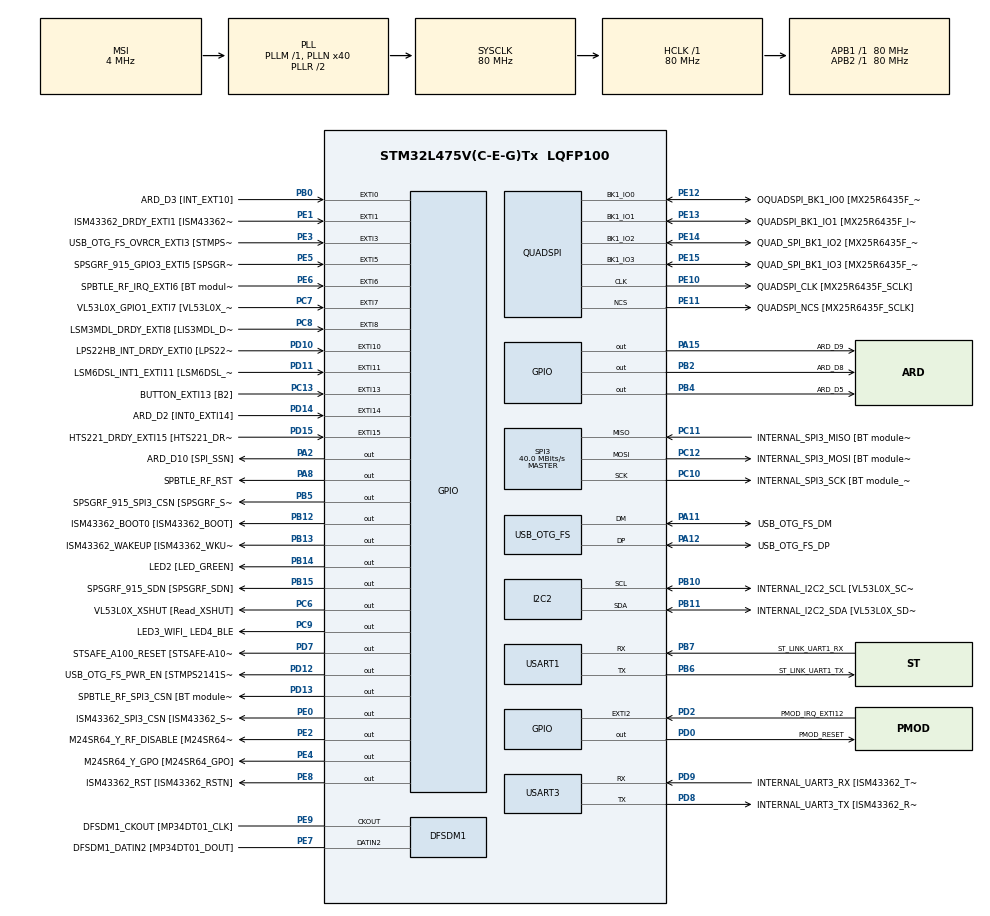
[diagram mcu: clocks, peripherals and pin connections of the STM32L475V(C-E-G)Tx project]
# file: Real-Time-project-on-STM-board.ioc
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FREERTOS.Tasks01=defaultTask,24,128,StartDefaultTask,Default,NULL,Dynamic,NULL,NULL
FREERTOS.Timers01=myTimer01,Callback01,osTimerPeriodic,Default,NULL,Dynamic,NULL
FREERTOS.configTOTAL_HEAP_SIZE=6000
Mcu.Family=STM32L4
Mcu.Name=STM32L475V(C-E-G)Tx
Mcu.Package=LQFP100
NVIC.EXTI15_10_IRQn=true\:5\:0\:false\:false\:true\:true\:true\:true
NVIC.EXTI9_5_IRQn=true\:5\:0\:false\:false\:true\:true\:true\:true
NVIC.PriorityGroup=NVIC_PRIORITYGROUP_4
NVIC.TIM1_UP_TIM16_IRQn=true\:0\:0\:false\:false\:true\:false\:false\:true
NVIC.TimeBase=TIM1_UP_TIM16_IRQn
NVIC.TimeBaseIP=TIM1
PA0.GPIO_Label=ARD_D1 [UART4_TX]
PA0.Signal=UART4_TX
PA1.GPIO_Label=ARD_D0 [UART4_RX]
PA1.Signal=UART4_RX
PA10.GPIO_Label=USB_OTG_FS_ID
PA10.Signal=USB_OTG_FS_ID
PA11.GPIO_Label=USB_OTG_FS_DM
PA11.Mode=Device_Only
PA11.Signal=USB_OTG_FS_DM
PA12.GPIO_Label=USB_OTG_FS_DP
PA12.Mode=Device_Only
PA12.Signal=USB_OTG_FS_DP
PA13\ (JTMS-SWDIO).GPIO_Label=SYS_JTMS_SWDIO
PA13\ (JTMS-SWDIO).Mode=Serial_Wire
PA13\ (JTMS-SWDIO).Signal=SYS_JTMS-SWDIO
PA14\ (JTCK-SWCLK).GPIO_Label=SYS_JTCK_SWCLK
PA14\ (JTCK-SWCLK).Mode=Serial_Wire
PA14\ (JTCK-SWCLK).Signal=SYS_JTCK-SWCLK
PA15\ (JTDI).GPIO_Label=ARD_D9
PA15\ (JTDI).Signal=GPIO_Output
PA2.GPIO_Label=ARD_D10 [SPI_SSN]
PA2.Signal=GPIO_Output
PA3.GPIO_Label=ARD_D4
PA3.Signal=S_TIM2_CH4
PA4.GPIO_Label=ARD_D7
PA4.Signal=ADCx_IN9
PA5.GPIO_Label=ARD_D13 [SPI1_SCK]
PA5.Signal=SPI1_SCK
PA6.GPIO_Label=ARD_D12 [SPI1_MISO]
PA6.Signal=SPI1_MISO
PA7.GPIO_Label=ARD_D11 [SPI1_MOSI]
PA7.Signal=SPI1_MOSI
PA8.GPIO_Label=SPBTLE_RF_RST
PA8.Signal=GPIO_Output
PA9.GPIO_Label=USB_OTG_FS_VBUS [STMPS2141STR_OUT]
PA9.Signal=USB_OTG_FS_VBUS
PB0.GPIO_Label=ARD_D3 [INT_EXT10]
PB0.Signal=GPXTI0
PB1.GPIO_Label=ARD_D6 [ADC1_IN6]
PB1.Signal=ADCx_IN16
PB10.GPIO_Label=INTERNAL_I2C2_SCL [VL53L0X_SCL]
PB10.Mode=I2C
PB10.Signal=I2C2_SCL
PB11.GPIO_Label=INTERNAL_I2C2_SDA [VL53L0X_SDA]
PB11.Mode=I2C
PB11.Signal=I2C2_SDA
PB12.GPIO_Label=ISM43362_BOOT0 [ISM43362_BOOT]
PB12.Signal=GPIO_Output
PB13.GPIO_Label=ISM43362_WAKEUP [ISM43362_WKUP]
PB13.Signal=GPIO_Output
PB14.GPIO_Label=LED2 [LED_GREEN]
PB14.Signal=GPIO_Output
PB15.GPIO_Label=SPSGRF_915_SDN [SPSGRF_SDN]
PB15.Signal=GPIO_Output
PB2.GPIO_Label=ARD_D8
PB2.Signal=GPIO_Output
PB3\ (JTDO-TRACESWO).GPIO_Label=SYS_JTD0_SWO
PB3\ (JTDO-TRACESWO).Signal=SYS_JTDO-SWO
PB4\ (NJTRST).GPIO_Label=ARD_D5
PB4\ (NJTRST).Signal=GPIO_Output
PB5.GPIO_Label=SPSGRF_915_SPI3_CSN [SPSGRF_SPI_CS]
PB5.PinState=GPIO_PIN_SET
PB5.Signal=GPIO_Output
PB6.GPIO_Label=ST_LINK_UART1_TX
PB6.Mode=Asynchronous
PB6.Signal=USART1_TX
PB7.GPIO_Label=ST_LINK_UART1_RX
PB7.Mode=Asynchronous
PB7.Signal=USART1_RX
PB8.GPIO_Label=ARD_D15 [I2C1_SCL]
PB8.Signal=I2C1_SCL
PB9.GPIO_Label=ARD_D14 [I2C1_SDA]
PB9.Signal=I2C1_SDA
PC0.GPIO_Label=ARD_A5 [ADC]
PC0.Signal=ADCx_IN1
PC1.GPIO_Label=ARD_A4 [ADC]
PC1.Signal=ADCx_IN2
PC10.GPIO_Label=INTERNAL_SPI3_SCK [BT module_SPI_SCLK] [ISM43362_SCK]
PC10.Mode=Full_Duplex_Master
PC10.Signal=SPI3_SCK
PC11.GPIO_Label=INTERNAL_SPI3_MISO [BT module_SPI_MISO] [ISM43362_MISO]
PC11.Mode=Full_Duplex_Master
PC11.Signal=SPI3_MISO
PC12.GPIO_Label=INTERNAL_SPI3_MOSI [BT module_SPI_MOSI] [ISM43362_MOSI]
PC12.Mode=Full_Duplex_Master
PC12.Signal=SPI3_MOSI
PC13.GPIO_Label=BUTTON_EXTI13 [B2]
PC13.GPIO_ModeDefaultEXTI=GPIO_MODE_IT_FALLING
PC13.Signal=GPXTI13
PC14-OSC32_IN\ (PC14).Mode=LSE-External-Oscillator
PC14-OSC32_IN\ (PC14).Signal=RCC_OSC32_IN
PC15-OSC32_OUT\ (PC15).Mode=LSE-External-Oscillator
PC15-OSC32_OUT\ (PC15).Signal=RCC_OSC32_OUT
PC2.GPIO_Label=ARD_A3 [ADC]
PC2.Signal=ADCx_IN3
PC3.GPIO_Label=ARD_A2 [ADC]
PC3.Signal=ADCx_IN4
PC4.GPIO_Label=ARD_A1 [ADC]
PC4.Signal=ADCx_IN13
PC5.GPIO_Label=ARD_A0 [ADC]
PC5.Signal=ADCx_IN14
PC6.GPIO_Label=VL53L0X_XSHUT [Read_XSHUT]
PC6.Signal=GPIO_Output
PC7.GPIO_Label=VL53L0X_GPIO1_EXTI7 [VL53L0X_GPIO1]
PC7.Signal=GPXTI7
PC8.GPIO_Label=LSM3MDL_DRDY_EXTI8 [LIS3MDL_DRDY]
PC8.Signal=GPXTI8
PC9.GPIO_Label=LED3_WIFI_ LED4_BLE
PC9.Signal=GPIO_Output
PD0.GPIO_Label=PMOD_RESET
PD0.Signal=GPIO_Output
PD1.GPIO_Label=PMOD_SPI2_SCK
PD1.Signal=SPI2_SCK
PD10.GPIO_Label=LPS22HB_INT_DRDY_EXTI0 [LPS22HB_INT_DRDY] 
PD10.Signal=GPXTI10
PD11.GPIO_Label=LSM6DSL_INT1_EXTI11 [LSM6DSL_INT1]
PD11.Signal=GPXTI11
PD12.GPIO_Label=USB_OTG_FS_PWR_EN [STMPS2141STR_EN]
PD12.Signal=GPIO_Output
PD13.GPIO_Label=SPBTLE_RF_SPI3_CSN [BT module_SPI_CS]
PD13.PinState=GPIO_PIN_SET
PD13.Signal=GPIO_Output
PD14.GPIO_Label=ARD_D2 [INT0_EXTI14]
PD14.Signal=GPXTI14
PD15.GPIO_Label=HTS221_DRDY_EXTI15 [HTS221_DRDY]
PD15.Signal=GPXTI15
PD2.GPIO_Label=PMOD_IRQ_EXTI12
PD2.Signal=GPXTI2
PD3.GPIO_Label=PMOD_UART2_CTS
PD3.Signal=USART2_CTS
PD4.GPIO_Label=PMOD_UART2_RTS
PD4.Signal=USART2_RTS
PD5.GPIO_Label=PMOD_UART2_TX
PD5.Signal=USART2_TX
PD6.GPIO_Label=PMOD_UART2_RX
PD6.Signal=USART2_RX
PD7.GPIO_Label=STSAFE_A100_RESET [STSAFE-A100_RESET]
PD7.Signal=GPIO_Output
PD8.GPIO_Label=INTERNAL_UART3_TX [ISM43362_RX]
PD8.Mode=Asynchronous
PD8.Signal=USART3_TX
PD9.GPIO_Label=INTERNAL_UART3_RX [ISM43362_TX]
PD9.Mode=Asynchronous
PD9.Signal=USART3_RX
PE0.GPIO_Label=ISM43362_SPI3_CSN [ISM43362_SSN]
PE0.PinState=GPIO_PIN_SET
PE0.Signal=GPIO_Output
PE1.GPIO_Label=ISM43362_DRDY_EXTI1 [ISM43362_DATARDY]
PE1.Signal=GPXTI1
PE10.GPIO_Label=QUADSPI_CLK [MX25R6435F_SCLK]
PE10.Mode=Single Bank
PE10.Signal=QUADSPI_CLK
PE11.GPIO_Label=QUADSPI_NCS [MX25R6435F_SCLK]
PE11.Mode=Single Bank
PE11.Signal=QUADSPI_NCS
PE12.GPIO_Label=OQUADSPI_BK1_IO0 [MX25R6435F_IO0]
PE12.Mode=Single Bank
PE12.Signal=QUADSPI_BK1_IO0
PE13.GPIO_Label=QUADSPI_BK1_IO1 [MX25R6435F_IO1]
PE13.Mode=Single Bank
PE13.Signal=QUADSPI_BK1_IO1
PE14.GPIO_Label=QUAD_SPI_BK1_IO2 [MX25R6435F_IO2]
PE14.Mode=Single Bank
PE14.Signal=QUADSPI_BK1_IO2
PE15.GPIO_Label=QUAD_SPI_BK1_IO3 [MX25R6435F_IO3]
PE15.Mode=Single Bank
PE15.Signal=QUADSPI_BK1_IO3
PE2.GPIO_Label=M24SR64_Y_RF_DISABLE [M24SR64_RFDIS]
PE2.Signal=GPIO_Output
PE3.GPIO_Label=USB_OTG_FS_OVRCR_EXTI3 [STMPS2141STR_FAULT]
PE3.Signal=GPXTI3
PE4.GPIO_Label=M24SR64_Y_GPO [M24SR64_GPO]
PE4.Signal=GPIO_Output
PE5.GPIO_Label=SPSGRF_915_GPIO3_EXTI5 [SPSGRF_GPIO_3]
PE5.Signal=GPXTI5
PE6.GPIO_Label=SPBTLE_RF_IRQ_EXTI6 [BT module_SPI_IRQ]
PE6.Signal=GPXTI6
PE7.GPIO_Label=DFSDM1_DATIN2 [MP34DT01_DOUT]
PE7.Signal=S_DATAIN2DFSDM1
PE8.GPIO_Label=ISM43362_RST [ISM43362_RSTN]
PE8.Signal=GPIO_Output
PE9.GPIO_Label=DFSDM1_CKOUT [MP34DT01_CLK]
PE9.Signal=S_CKOUTDFSDM1
ProjectManager.HeapSize=0x200
ProjectManager.StackSize=0x400
ProjectManager.TargetToolchain=STM32CubeIDE
RCC.ADCFreq_Value=48000000
RCC.AHBFreq_Value=80000000
RCC.APB1Freq_Value=80000000
RCC.APB1TimFreq_Value=80000000
RCC.APB2Freq_Value=80000000
RCC.APB2TimFreq_Value=80000000
RCC.CortexFreq_Value=80000000
RCC.HCLKFreq_Value=80000000
RCC.HSE_VALUE=8000000
RCC.HSI_VALUE=16000000
RCC.MSI_VALUE=4000000
RCC.PLLN=40
RCC.PLLSAI1N=24
RCC.SYSCLKFreq_VALUE=80000000
RCC.SYSCLKSource=RCC_SYSCLKSOURCE_PLLCLK
RCC.USBFreq_Value=48000000
RCC.VCOOutputFreq_Value=160000000
SH.ADCx_IN1.0=ADC1_IN1
SH.ADCx_IN13.0=ADC1_IN13
SH.ADCx_IN14.0=ADC1_IN14
SH.ADCx_IN16.0=ADC1_IN16
SH.ADCx_IN2.0=ADC1_IN2
SH.ADCx_IN3.0=ADC1_IN3
SH.ADCx_IN4.0=ADC1_IN4
SH.ADCx_IN9.0=ADC1_IN9
SH.S_CKOUTDFSDM1.0=DFSDM1_CKOUT,CKOUT
SH.S_CKOUTDFSDM1.1=DFSDM1_CKOUT,PDM_SPI_Input_from_ch12_and_Internal_Clock
SH.S_DATAIN2DFSDM1.0=DFSDM1_DATIN2,PDM_SPI_Input_from_ch12_and_Internal_Clock
SH.S_TIM2_CH4.0=TIM2_CH4
SPI3.CalculateBaudRate=40.0 MBits/s
SPI3.Direction=SPI_DIRECTION_2LINES
SPI3.Mode=SPI_MODE_MASTER
SPI3.VirtualType=VM_MASTER
USART1.VirtualMode-Asynchronous=VM_ASYNC
USART3.VirtualMode-Asynchronous=VM_ASYNC
USB_OTG_FS.VirtualMode=Device_Only
VP_FREERTOS_VS_CMSIS_V2.Mode=CMSIS_V2
VP_SYS_VS_tim1.Mode=TIM1
board=B-L475E-IOT01A1

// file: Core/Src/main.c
/* USER CODE BEGIN Header */
/**
 ******************************************************************************
 * @file           : main.c
 * @brief          : Main program body
 ******************************************************************************
 * @attention
 *
 * <h2><center>&copy; Copyright (c) 2020 STMicroelectronics.
 * All rights reserved.</center></h2>
 *
 * This software component is licensed by ST under BSD 3-Clause license,
 * the "License"; You may not use this file except in compliance with the
 * License. You may obtain a copy of the License at:
 *                        opensource.org/licenses/BSD-3-Clause
 *
 ******************************************************************************
 */

/* USER CODE END Header */

#include "main.h"
#include "cmsis_os.h"

/* USER CODE BEGIN Includes */
#include "stm32l475e_iot01.h"
#include "stm32l475e_iot01_tsensor.h"
#include "stm32l475e_iot01_hsensor.h"
#include "semphr.h"
#include <math.h>
#include <stdio.h>
/* USER CODE END Includes */

/* USER CODE BEGIN PD */

/*Thread state definition*/
#define BLOCKED	0
#define RUNNING	1
/* USER CODE END PD */

DFSDM_Channel_HandleTypeDef hdfsdm1_channel1;

I2C_HandleTypeDef hi2c2;

QSPI_HandleTypeDef hqspi;

SPI_HandleTypeDef hspi3;

UART_HandleTypeDef huart1;
UART_HandleTypeDef huart3;

PCD_HandleTypeDef hpcd_USB_OTG_FS;

/* USER CODE BEGIN PV */

/*Timer handler*/
osTimerId_t timer_handle;

/*Data structure containing the shared variables*/
struct ambient_conditions {
	float temp_value;
	float humid_value;
	float humidex;
	int set_temperature;
} ambient_conditions;

/*Initialization messages*/
uint8_t msg1[] = "=====> Initialize Temperature sensor HTS221 \r\n";
uint8_t msg2[] = "=====> Temperature sensor HTS221 initialized \r\n";
uint8_t msg3[] = "=====> Initialize Humidity sensor HTS221 \r\n";
uint8_t msg4[] = "=====> Humidity sensor HTS221 initialized \r\n";

/*Thread attributes*/
const osThreadAttr_t sensors_tasks_attributes = { .name = "temp_tasks",
		.priority = (osPriority_t) osPriorityHigh, .stack_size = 1024 };

const osThreadAttr_t apparent_temp_task_attributes = { .name =
		"apparent_temp_task", .priority = (osPriority_t) osPriorityHigh,
		.stack_size = 1024 };

const osThreadAttr_t safety_task_attributes = { .name = "safety_task",
		.priority = (osPriority_t) osPriorityHigh1, .stack_size = 1024 };

/*Threads handlers*/
osThreadId_t temp_task_handle;
osThreadId_t humid_task_handle;
osThreadId_t apparent_temp_task_handle;
osThreadId_t safety_task_handle;

/*Timer handler*/
osTimerId_t timer_handle;

/*Timer attributes*/
const osTimerAttr_t timer_attributes = {
  .name = "timer"
};

/*Semaphores handlers*/
osSemaphoreId_t temp_sem;
osSemaphoreId_t humid_sem;
osSemaphoreId_t apparent_temp_sem;
osSemaphoreId_t safety_sem;

/*Threads state*/
int temp_state, humid_state, apparent_temp_state, safety_state = BLOCKED;

/* USER CODE END PV */

void SystemClock_Config(void);
static void MX_GPIO_Init(void);
static void MX_DFSDM1_Init(void);
static void MX_I2C2_Init(void);
static void MX_QUADSPI_Init(void);
static void MX_SPI3_Init(void);
static void MX_USART1_UART_Init(void);
static void MX_USART3_UART_Init(void);
static void MX_USB_OTG_FS_PCD_Init(void);

/* USER CODE BEGIN PFP */
void temp_task(struct ambient_conditions *ac);
void humid_task(struct ambient_conditions *ac);
void apparent_temp_task(struct ambient_conditions *ac);
void safety_task(struct ambient_conditions *ac);
float calculate_h(struct ambient_conditions *ac);
void struct_init(struct ambient_conditions *ac);
void Callbacktimer(void *argument);
/* USER CODE END PFP */

int main(void)
{

  /* MCU Configuration--------------------------------------------------------*/

  /* Reset of all peripherals, Initializes the Flash interface and the Systick. */
  HAL_Init();

  /* Configure the system clock */
  SystemClock_Config();

  /* Initialize all configured peripherals */
  MX_GPIO_Init();
  MX_DFSDM1_Init();
  MX_I2C2_Init();
  MX_QUADSPI_Init();
  MX_SPI3_Init();
  MX_USART1_UART_Init();
  MX_USART3_UART_Init();
  MX_USB_OTG_FS_PCD_Init();
  /* USER CODE BEGIN 2 */
	/*Transmit the initialization messages and initialize the temperature sensor*/
	HAL_UART_Transmit(&huart1, msg1, sizeof(msg1), 1000);
	BSP_TSENSOR_Init();
	HAL_UART_Transmit(&huart1, msg2, sizeof(msg2), 1000);
	HAL_UART_Transmit(&huart1, msg3, sizeof(msg3), 1000);
	BSP_HSENSOR_Init();
	HAL_UART_Transmit(&huart1, msg4, sizeof(msg4), 1000);

	/*Initialize the data structure*/
	struct_init(&ambient_conditions);
  /* USER CODE END 2 */

  osKernelInitialize();

  /* USER CODE BEGIN RTOS_SEMAPHORES */
	/* add semaphores, ... */

	temp_sem = osSemaphoreNew(1, 1, NULL);
	humid_sem = osSemaphoreNew(1, 0, NULL);
	apparent_temp_sem = osSemaphoreNew(1, 0, NULL);
	safety_sem = osSemaphoreNew(1, 0, NULL);
  /* USER CODE END RTOS_SEMAPHORES */

  /* Create the timer(s) */

  /* USER CODE BEGIN RTOS_TIMERS */
	/* start timers, add new ones, ... */
  timer_handle = osTimerNew(Callbacktimer, osTimerPeriodic, NULL, &timer_attributes);
  osTimerStart (timer_handle, 2000);
  /* USER CODE END RTOS_TIMERS */

  /* Create the thread(s) */

  /* USER CODE BEGIN RTOS_THREADS */
	/* add threads, ... */
	apparent_temp_task_handle = osThreadNew(apparent_temp_task,
			&ambient_conditions, &apparent_temp_task_attributes);
	temp_task_handle = osThreadNew(temp_task, &ambient_conditions,
			&sensors_tasks_attributes);
	humid_task_handle = osThreadNew(humid_task, &ambient_conditions,
			&sensors_tasks_attributes);
	safety_task_handle = osThreadNew(safety_task, &ambient_conditions,
			&safety_task_attributes);

  /* USER CODE END RTOS_THREADS */

  /* Start scheduler */
  osKernelStart();

  /* We should never get here as control is now taken by the scheduler */

  /* Infinite loop */
	while (1) {

	}
}

void SystemClock_Config(void)
{
  RCC_OscInitTypeDef RCC_OscInitStruct = {0};
  RCC_ClkInitTypeDef RCC_ClkInitStruct = {0};
  RCC_PeriphCLKInitTypeDef PeriphClkInit = {0};

  /** Configure LSE Drive Capability
  */
  HAL_PWR_EnableBkUpAccess();
  __HAL_RCC_LSEDRIVE_CONFIG(RCC_LSEDRIVE_LOW);
  /** Initializes the CPU, AHB and APB busses clocks
  */
  RCC_OscInitStruct.OscillatorType = RCC_OSCILLATORTYPE_LSE|RCC_OSCILLATORTYPE_MSI;
  RCC_OscInitStruct.LSEState = RCC_LSE_ON;
  RCC_OscInitStruct.MSIState = RCC_MSI_ON;
  RCC_OscInitStruct.MSICalibrationValue = 0;
  RCC_OscInitStruct.MSIClockRange = RCC_MSIRANGE_6;
  RCC_OscInitStruct.PLL.PLLState = RCC_PLL_ON;
  RCC_OscInitStruct.PLL.PLLSource = RCC_PLLSOURCE_MSI;
  RCC_OscInitStruct.PLL.PLLM = 1;
  RCC_OscInitStruct.PLL.PLLN = 40;
  RCC_OscInitStruct.PLL.PLLP = RCC_PLLP_DIV7;
  RCC_OscInitStruct.PLL.PLLQ = RCC_PLLQ_DIV2;
  RCC_OscInitStruct.PLL.PLLR = RCC_PLLR_DIV2;
  if (HAL_RCC_OscConfig(&RCC_OscInitStruct) != HAL_OK)
  {
    Error_Handler();
  }
  /** Initializes the CPU, AHB and APB busses clocks
  */
  RCC_ClkInitStruct.ClockType = RCC_CLOCKTYPE_HCLK|RCC_CLOCKTYPE_SYSCLK
                              |RCC_CLOCKTYPE_PCLK1|RCC_CLOCKTYPE_PCLK2;
  RCC_ClkInitStruct.SYSCLKSource = RCC_SYSCLKSOURCE_PLLCLK;
  RCC_ClkInitStruct.AHBCLKDivider = RCC_SYSCLK_DIV1;
  RCC_ClkInitStruct.APB1CLKDivider = RCC_HCLK_DIV1;
  RCC_ClkInitStruct.APB2CLKDivider = RCC_HCLK_DIV1;

  if (HAL_RCC_ClockConfig(&RCC_ClkInitStruct, FLASH_LATENCY_4) != HAL_OK)
  {
    Error_Handler();
  }
  PeriphClkInit.PeriphClockSelection = RCC_PERIPHCLK_USART1|RCC_PERIPHCLK_USART3
                              |RCC_PERIPHCLK_I2C2|RCC_PERIPHCLK_DFSDM1
                              |RCC_PERIPHCLK_USB;
  PeriphClkInit.Usart1ClockSelection = RCC_USART1CLKSOURCE_PCLK2;
  PeriphClkInit.Usart3ClockSelection = RCC_USART3CLKSOURCE_PCLK1;
  PeriphClkInit.I2c2ClockSelection = RCC_I2C2CLKSOURCE_PCLK1;
  PeriphClkInit.Dfsdm1ClockSelection = RCC_DFSDM1CLKSOURCE_PCLK;
  PeriphClkInit.UsbClockSelection = RCC_USBCLKSOURCE_PLLSAI1;
  PeriphClkInit.PLLSAI1.PLLSAI1Source = RCC_PLLSOURCE_MSI;
  PeriphClkInit.PLLSAI1.PLLSAI1M = 1;
  PeriphClkInit.PLLSAI1.PLLSAI1N = 24;
  PeriphClkInit.PLLSAI1.PLLSAI1P = RCC_PLLP_DIV7;
  PeriphClkInit.PLLSAI1.PLLSAI1Q = RCC_PLLQ_DIV2;
  PeriphClkInit.PLLSAI1.PLLSAI1R = RCC_PLLR_DIV2;
  PeriphClkInit.PLLSAI1.PLLSAI1ClockOut = RCC_PLLSAI1_48M2CLK;
  if (HAL_RCCEx_PeriphCLKConfig(&PeriphClkInit) != HAL_OK)
  {
    Error_Handler();
  }
  /** Configure the main internal regulator output voltage
  */
  if (HAL_PWREx_ControlVoltageScaling(PWR_REGULATOR_VOLTAGE_SCALE1) != HAL_OK)
  {
    Error_Handler();
  }
  /** Enable MSI Auto calibration
  */
  HAL_RCCEx_EnableMSIPLLMode();
}

static void MX_DFSDM1_Init(void)
{

  hdfsdm1_channel1.Instance = DFSDM1_Channel1;
  hdfsdm1_channel1.Init.OutputClock.Activation = ENABLE;
  hdfsdm1_channel1.Init.OutputClock.Selection = DFSDM_CHANNEL_OUTPUT_CLOCK_SYSTEM;
  hdfsdm1_channel1.Init.OutputClock.Divider = 2;
  hdfsdm1_channel1.Init.Input.Multiplexer = DFSDM_CHANNEL_EXTERNAL_INPUTS;
  hdfsdm1_channel1.Init.Input.DataPacking = DFSDM_CHANNEL_STANDARD_MODE;
  hdfsdm1_channel1.Init.Input.Pins = DFSDM_CHANNEL_FOLLOWING_CHANNEL_PINS;
  hdfsdm1_channel1.Init.SerialInterface.Type = DFSDM_CHANNEL_SPI_RISING;
  hdfsdm1_channel1.Init.SerialInterface.SpiClock = DFSDM_CHANNEL_SPI_CLOCK_INTERNAL;
  hdfsdm1_channel1.Init.Awd.FilterOrder = DFSDM_CHANNEL_FASTSINC_ORDER;
  hdfsdm1_channel1.Init.Awd.Oversampling = 1;
  hdfsdm1_channel1.Init.Offset = 0;
  hdfsdm1_channel1.Init.RightBitShift = 0x00;
  if (HAL_DFSDM_ChannelInit(&hdfsdm1_channel1) != HAL_OK)
  {
    Error_Handler();
  }

}

static void MX_I2C2_Init(void)
{

  hi2c2.Instance = I2C2;
  hi2c2.Init.Timing = 0x10909CEC;
  hi2c2.Init.OwnAddress1 = 0;
  hi2c2.Init.AddressingMode = I2C_ADDRESSINGMODE_7BIT;
  hi2c2.Init.DualAddressMode = I2C_DUALADDRESS_DISABLE;
  hi2c2.Init.OwnAddress2 = 0;
  hi2c2.Init.OwnAddress2Masks = I2C_OA2_NOMASK;
  hi2c2.Init.GeneralCallMode = I2C_GENERALCALL_DISABLE;
  hi2c2.Init.NoStretchMode = I2C_NOSTRETCH_DISABLE;
  if (HAL_I2C_Init(&hi2c2) != HAL_OK)
  {
    Error_Handler();
  }
  /** Configure Analogue filter
  */
  if (HAL_I2CEx_ConfigAnalogFilter(&hi2c2, I2C_ANALOGFILTER_ENABLE) != HAL_OK)
  {
    Error_Handler();
  }
  /** Configure Digital filter
  */
  if (HAL_I2CEx_ConfigDigitalFilter(&hi2c2, 0) != HAL_OK)
  {
    Error_Handler();
  }

}

static void MX_QUADSPI_Init(void)
{

  /* QUADSPI parameter configuration*/
  hqspi.Instance = QUADSPI;
  hqspi.Init.ClockPrescaler = 255;
  hqspi.Init.FifoThreshold = 1;
  hqspi.Init.SampleShifting = QSPI_SAMPLE_SHIFTING_NONE;
  hqspi.Init.FlashSize = 1;
  hqspi.Init.ChipSelectHighTime = QSPI_CS_HIGH_TIME_1_CYCLE;
  hqspi.Init.ClockMode = QSPI_CLOCK_MODE_0;
  if (HAL_QSPI_Init(&hqspi) != HAL_OK)
  {
    Error_Handler();
  }

}

static void MX_SPI3_Init(void)
{

  /* SPI3 parameter configuration*/
  hspi3.Instance = SPI3;
  hspi3.Init.Mode = SPI_MODE_MASTER;
  hspi3.Init.Direction = SPI_DIRECTION_2LINES;
  hspi3.Init.DataSize = SPI_DATASIZE_4BIT;
  hspi3.Init.CLKPolarity = SPI_POLARITY_LOW;
  hspi3.Init.CLKPhase = SPI_PHASE_1EDGE;
  hspi3.Init.NSS = SPI_NSS_SOFT;
  hspi3.Init.BaudRatePrescaler = SPI_BAUDRATEPRESCALER_2;
  hspi3.Init.FirstBit = SPI_FIRSTBIT_MSB;
  hspi3.Init.TIMode = SPI_TIMODE_DISABLE;
  hspi3.Init.CRCCalculation = SPI_CRCCALCULATION_DISABLE;
  hspi3.Init.CRCPolynomial = 7;
  hspi3.Init.CRCLength = SPI_CRC_LENGTH_DATASIZE;
  hspi3.Init.NSSPMode = SPI_NSS_PULSE_ENABLE;
  if (HAL_SPI_Init(&hspi3) != HAL_OK)
  {
    Error_Handler();
  }

}

static void MX_USART1_UART_Init(void)
{

  huart1.Instance = USART1;
  huart1.Init.BaudRate = 115200;
  huart1.Init.WordLength = UART_WORDLENGTH_8B;
  huart1.Init.StopBits = UART_STOPBITS_1;
  huart1.Init.Parity = UART_PARITY_NONE;
  huart1.Init.Mode = UART_MODE_TX_RX;
  huart1.Init.HwFlowCtl = UART_HWCONTROL_NONE;
  huart1.Init.OverSampling = UART_OVERSAMPLING_16;
  huart1.Init.OneBitSampling = UART_ONE_BIT_SAMPLE_DISABLE;
  huart1.AdvancedInit.AdvFeatureInit = UART_ADVFEATURE_NO_INIT;
  if (HAL_UART_Init(&huart1) != HAL_OK)
  {
    Error_Handler();
  }

}

static void MX_USART3_UART_Init(void)
{

  huart3.Instance = USART3;
  huart3.Init.BaudRate = 115200;
  huart3.Init.WordLength = UART_WORDLENGTH_8B;
  huart3.Init.StopBits = UART_STOPBITS_1;
  huart3.Init.Parity = UART_PARITY_NONE;
  huart3.Init.Mode = UART_MODE_TX_RX;
  huart3.Init.HwFlowCtl = UART_HWCONTROL_NONE;
  huart3.Init.OverSampling = UART_OVERSAMPLING_16;
  huart3.Init.OneBitSampling = UART_ONE_BIT_SAMPLE_DISABLE;
  huart3.AdvancedInit.AdvFeatureInit = UART_ADVFEATURE_NO_INIT;
  if (HAL_UART_Init(&huart3) != HAL_OK)
  {
    Error_Handler();
  }

}

static void MX_USB_OTG_FS_PCD_Init(void)
{

  hpcd_USB_OTG_FS.Instance = USB_OTG_FS;
  hpcd_USB_OTG_FS.Init.dev_endpoints = 6;
  hpcd_USB_OTG_FS.Init.speed = PCD_SPEED_FULL;
  hpcd_USB_OTG_FS.Init.phy_itface = PCD_PHY_EMBEDDED;
  hpcd_USB_OTG_FS.Init.Sof_enable = DISABLE;
  hpcd_USB_OTG_FS.Init.low_power_enable = DISABLE;
  hpcd_USB_OTG_FS.Init.lpm_enable = DISABLE;
  hpcd_USB_OTG_FS.Init.battery_charging_enable = DISABLE;
  hpcd_USB_OTG_FS.Init.use_dedicated_ep1 = DISABLE;
  hpcd_USB_OTG_FS.Init.vbus_sensing_enable = DISABLE;
  if (HAL_PCD_Init(&hpcd_USB_OTG_FS) != HAL_OK)
  {
    Error_Handler();
  }

}

static void MX_GPIO_Init(void)
{
  GPIO_InitTypeDef GPIO_InitStruct = {0};

  /* GPIO Ports Clock Enable */
  __HAL_RCC_GPIOE_CLK_ENABLE();
  __HAL_RCC_GPIOC_CLK_ENABLE();
  __HAL_RCC_GPIOA_CLK_ENABLE();
  __HAL_RCC_GPIOB_CLK_ENABLE();
  __HAL_RCC_GPIOD_CLK_ENABLE();

  /*Configure GPIO pin Output Level */
  HAL_GPIO_WritePin(GPIOE, M24SR64_Y_RF_DISABLE_Pin|M24SR64_Y_GPO_Pin|ISM43362_RST_Pin, GPIO_PIN_RESET);

  /*Configure GPIO pin Output Level */
  HAL_GPIO_WritePin(GPIOA, ARD_D10_Pin|SPBTLE_RF_RST_Pin|ARD_D9_Pin, GPIO_PIN_RESET);

  /*Configure GPIO pin Output Level */
  HAL_GPIO_WritePin(GPIOB, ARD_D8_Pin|ISM43362_BOOT0_Pin|ISM43362_WAKEUP_Pin|LED2_Pin
                          |SPSGRF_915_SDN_Pin|ARD_D5_Pin, GPIO_PIN_RESET);

  /*Configure GPIO pin Output Level */
  HAL_GPIO_WritePin(GPIOD, USB_OTG_FS_PWR_EN_Pin|PMOD_RESET_Pin|STSAFE_A100_RESET_Pin, GPIO_PIN_RESET);

  /*Configure GPIO pin Output Level */
  HAL_GPIO_WritePin(SPBTLE_RF_SPI3_CSN_GPIO_Port, SPBTLE_RF_SPI3_CSN_Pin, GPIO_PIN_SET);

  /*Configure GPIO pin Output Level */
  HAL_GPIO_WritePin(GPIOC, VL53L0X_XSHUT_Pin|LED3_WIFI__LED4_BLE_Pin, GPIO_PIN_RESET);

  /*Configure GPIO pin Output Level */
  HAL_GPIO_WritePin(SPSGRF_915_SPI3_CSN_GPIO_Port, SPSGRF_915_SPI3_CSN_Pin, GPIO_PIN_SET);

  /*Configure GPIO pin Output Level */
  HAL_GPIO_WritePin(ISM43362_SPI3_CSN_GPIO_Port, ISM43362_SPI3_CSN_Pin, GPIO_PIN_SET);

  /*Configure GPIO pins : M24SR64_Y_RF_DISABLE_Pin M24SR64_Y_GPO_Pin ISM43362_RST_Pin ISM43362_SPI3_CSN_Pin */
  GPIO_InitStruct.Pin = M24SR64_Y_RF_DISABLE_Pin|M24SR64_Y_GPO_Pin|ISM43362_RST_Pin|ISM43362_SPI3_CSN_Pin;
  GPIO_InitStruct.Mode = GPIO_MODE_OUTPUT_PP;
  GPIO_InitStruct.Pull = GPIO_NOPULL;
  GPIO_InitStruct.Speed = GPIO_SPEED_FREQ_LOW;
  HAL_GPIO_Init(GPIOE, &GPIO_InitStruct);

  /*Configure GPIO pins : USB_OTG_FS_OVRCR_EXTI3_Pin SPSGRF_915_GPIO3_EXTI5_Pin SPBTLE_RF_IRQ_EXTI6_Pin ISM43362_DRDY_EXTI1_Pin */
  GPIO_InitStruct.Pin = USB_OTG_FS_OVRCR_EXTI3_Pin|SPSGRF_915_GPIO3_EXTI5_Pin|SPBTLE_RF_IRQ_EXTI6_Pin|ISM43362_DRDY_EXTI1_Pin;
  GPIO_InitStruct.Mode = GPIO_MODE_IT_RISING;
  GPIO_InitStruct.Pull = GPIO_NOPULL;
  HAL_GPIO_Init(GPIOE, &GPIO_InitStruct);

  /*Configure GPIO pin : BUTTON_EXTI13_Pin */
  GPIO_InitStruct.Pin = BUTTON_EXTI13_Pin;
  GPIO_InitStruct.Mode = GPIO_MODE_IT_FALLING;
  GPIO_InitStruct.Pull = GPIO_NOPULL;
  HAL_GPIO_Init(BUTTON_EXTI13_GPIO_Port, &GPIO_InitStruct);

  /*Configure GPIO pins : ARD_A5_Pin ARD_A4_Pin ARD_A3_Pin ARD_A2_Pin
                           ARD_A1_Pin ARD_A0_Pin */
  GPIO_InitStruct.Pin = ARD_A5_Pin|ARD_A4_Pin|ARD_A3_Pin|ARD_A2_Pin
                          |ARD_A1_Pin|ARD_A0_Pin;
  GPIO_InitStruct.Mode = GPIO_MODE_ANALOG_ADC_CONTROL;
  GPIO_InitStruct.Pull = GPIO_NOPULL;
  HAL_GPIO_Init(GPIOC, &GPIO_InitStruct);

  /*Configure GPIO pins : ARD_D1_Pin ARD_D0_Pin */
  GPIO_InitStruct.Pin = ARD_D1_Pin|ARD_D0_Pin;
  GPIO_InitStruct.Mode = GPIO_MODE_AF_PP;
  GPIO_InitStruct.Pull = GPIO_NOPULL;
  GPIO_InitStruct.Speed = GPIO_SPEED_FREQ_VERY_HIGH;
  GPIO_InitStruct.Alternate = GPIO_AF8_UART4;
  HAL_GPIO_Init(GPIOA, &GPIO_InitStruct);

  /*Configure GPIO pins : ARD_D10_Pin SPBTLE_RF_RST_Pin ARD_D9_Pin */
  GPIO_InitStruct.Pin = ARD_D10_Pin|SPBTLE_RF_RST_Pin|ARD_D9_Pin;
  GPIO_InitStruct.Mode = GPIO_MODE_OUTPUT_PP;
  GPIO_InitStruct.Pull = GPIO_NOPULL;
  GPIO_InitStruct.Speed = GPIO_SPEED_FREQ_LOW;
  HAL_GPIO_Init(GPIOA, &GPIO_InitStruct);

  /*Configure GPIO pin : ARD_D4_Pin */
  GPIO_InitStruct.Pin = ARD_D4_Pin;
  GPIO_InitStruct.Mode = GPIO_MODE_AF_PP;
  GPIO_InitStruct.Pull = GPIO_NOPULL;
  GPIO_InitStruct.Speed = GPIO_SPEED_FREQ_LOW;
  GPIO_InitStruct.Alternate = GPIO_AF1_TIM2;
  HAL_GPIO_Init(ARD_D4_GPIO_Port, &GPIO_InitStruct);

  /*Configure GPIO pin : ARD_D7_Pin */
  GPIO_InitStruct.Pin = ARD_D7_Pin;
  GPIO_InitStruct.Mode = GPIO_MODE_ANALOG_ADC_CONTROL;
  GPIO_InitStruct.Pull = GPIO_NOPULL;
  HAL_GPIO_Init(ARD_D7_GPIO_Port, &GPIO_InitStruct);

  /*Configure GPIO pins : ARD_D13_Pin ARD_D12_Pin ARD_D11_Pin */
  GPIO_InitStruct.Pin = ARD_D13_Pin|ARD_D12_Pin|ARD_D11_Pin;
  GPIO_InitStruct.Mode = GPIO_MODE_AF_PP;
  GPIO_InitStruct.Pull = GPIO_NOPULL;
  GPIO_InitStruct.Speed = GPIO_SPEED_FREQ_VERY_HIGH;
  GPIO_InitStruct.Alternate = GPIO_AF5_SPI1;
  HAL_GPIO_Init(GPIOA, &GPIO_InitStruct);

  /*Configure GPIO pin : ARD_D3_Pin */
  GPIO_InitStruct.Pin = ARD_D3_Pin;
  GPIO_InitStruct.Mode = GPIO_MODE_IT_RISING;
  GPIO_InitStruct.Pull = GPIO_NOPULL;
  HAL_GPIO_Init(ARD_D3_GPIO_Port, &GPIO_InitStruct);

  /*Configure GPIO pin : ARD_D6_Pin */
  GPIO_InitStruct.Pin = ARD_D6_Pin;
  GPIO_InitStruct.Mode = GPIO_MODE_ANALOG_ADC_CONTROL;
  GPIO_InitStruct.Pull = GPIO_NOPULL;
  HAL_GPIO_Init(ARD_D6_GPIO_Port, &GPIO_InitStruct);

  /*Configure GPIO pins : ARD_D8_Pin ISM43362_BOOT0_Pin ISM43362_WAKEUP_Pin LED2_Pin
                           SPSGRF_915_SDN_Pin ARD_D5_Pin SPSGRF_915_SPI3_CSN_Pin */
  GPIO_InitStruct.Pin = ARD_D8_Pin|ISM43362_BOOT0_Pin|ISM43362_WAKEUP_Pin|LED2_Pin
                          |SPSGRF_915_SDN_Pin|ARD_D5_Pin|SPSGRF_915_SPI3_CSN_Pin;
  GPIO_InitStruct.Mode = GPIO_MODE_OUTPUT_PP;
  GPIO_InitStruct.Pull = GPIO_NOPULL;
  GPIO_InitStruct.Speed = GPIO_SPEED_FREQ_LOW;
  HAL_GPIO_Init(GPIOB, &GPIO_InitStruct);

  /*Configure GPIO pins : LPS22HB_INT_DRDY_EXTI0_Pin LSM6DSL_INT1_EXTI11_Pin ARD_D2_Pin HTS221_DRDY_EXTI15_Pin
                           PMOD_IRQ_EXTI12_Pin */
  GPIO_InitStruct.Pin = LPS22HB_INT_DRDY_EXTI0_Pin|LSM6DSL_INT1_EXTI11_Pin|ARD_D2_Pin|HTS221_DRDY_EXTI15_Pin
                          |PMOD_IRQ_EXTI12_Pin;
  GPIO_InitStruct.Mode = GPIO_MODE_IT_RISING;
  GPIO_InitStruct.Pull = GPIO_NOPULL;
  HAL_GPIO_Init(GPIOD, &GPIO_InitStruct);

  /*Configure GPIO pins : USB_OTG_FS_PWR_EN_Pin SPBTLE_RF_SPI3_CSN_Pin PMOD_RESET_Pin STSAFE_A100_RESET_Pin */
  GPIO_InitStruct.Pin = USB_OTG_FS_PWR_EN_Pin|SPBTLE_RF_SPI3_CSN_Pin|PMOD_RESET_Pin|STSAFE_A100_RESET_Pin;
  GPIO_InitStruct.Mode = GPIO_MODE_OUTPUT_PP;
  GPIO_InitStruct.Pull = GPIO_NOPULL;
  GPIO_InitStruct.Speed = GPIO_SPEED_FREQ_LOW;
  HAL_GPIO_Init(GPIOD, &GPIO_InitStruct);

  /*Configure GPIO pins : VL53L0X_XSHUT_Pin LED3_WIFI__LED4_BLE_Pin */
  GPIO_InitStruct.Pin = VL53L0X_XSHUT_Pin|LED3_WIFI__LED4_BLE_Pin;
  GPIO_InitStruct.Mode = GPIO_MODE_OUTPUT_PP;
  GPIO_InitStruct.Pull = GPIO_NOPULL;
  GPIO_InitStruct.Speed = GPIO_SPEED_FREQ_LOW;
  HAL_GPIO_Init(GPIOC, &GPIO_InitStruct);

  /*Configure GPIO pins : VL53L0X_GPIO1_EXTI7_Pin LSM3MDL_DRDY_EXTI8_Pin */
  GPIO_InitStruct.Pin = VL53L0X_GPIO1_EXTI7_Pin|LSM3MDL_DRDY_EXTI8_Pin;
  GPIO_InitStruct.Mode = GPIO_MODE_IT_RISING;
  GPIO_InitStruct.Pull = GPIO_NOPULL;
  HAL_GPIO_Init(GPIOC, &GPIO_InitStruct);

  /*Configure GPIO pin : PMOD_SPI2_SCK_Pin */
  GPIO_InitStruct.Pin = PMOD_SPI2_SCK_Pin;
  GPIO_InitStruct.Mode = GPIO_MODE_AF_PP;
  GPIO_InitStruct.Pull = GPIO_NOPULL;
  GPIO_InitStruct.Speed = GPIO_SPEED_FREQ_VERY_HIGH;
  GPIO_InitStruct.Alternate = GPIO_AF5_SPI2;
  HAL_GPIO_Init(PMOD_SPI2_SCK_GPIO_Port, &GPIO_InitStruct);

  /*Configure GPIO pins : PMOD_UART2_CTS_Pin PMOD_UART2_RTS_Pin PMOD_UART2_TX_Pin PMOD_UART2_RX_Pin */
  GPIO_InitStruct.Pin = PMOD_UART2_CTS_Pin|PMOD_UART2_RTS_Pin|PMOD_UART2_TX_Pin|PMOD_UART2_RX_Pin;
  GPIO_InitStruct.Mode = GPIO_MODE_AF_PP;
  GPIO_InitStruct.Pull = GPIO_NOPULL;
  GPIO_InitStruct.Speed = GPIO_SPEED_FREQ_VERY_HIGH;
  GPIO_InitStruct.Alternate = GPIO_AF7_USART2;
  HAL_GPIO_Init(GPIOD, &GPIO_InitStruct);

  /*Configure GPIO pins : ARD_D15_Pin ARD_D14_Pin */
  GPIO_InitStruct.Pin = ARD_D15_Pin|ARD_D14_Pin;
  GPIO_InitStruct.Mode = GPIO_MODE_AF_OD;
  GPIO_InitStruct.Pull = GPIO_PULLUP;
  GPIO_InitStruct.Speed = GPIO_SPEED_FREQ_VERY_HIGH;
  GPIO_InitStruct.Alternate = GPIO_AF4_I2C1;
  HAL_GPIO_Init(GPIOB, &GPIO_InitStruct);

  /* EXTI interrupt init*/
  HAL_NVIC_SetPriority(EXTI9_5_IRQn, 5, 0);
  HAL_NVIC_EnableIRQ(EXTI9_5_IRQn);

  HAL_NVIC_SetPriority(EXTI15_10_IRQn, 5, 0);
  HAL_NVIC_EnableIRQ(EXTI15_10_IRQn);

}

/* USER CODE BEGIN 4 */

/*When the user button is pressed, an interrupt is generated and the set temperature is increased by 1 degree*/
void HAL_GPIO_EXTI_Callback(uint16_t GPIO_Pin) {
	char msg[32];
	char line[] = "--------------------------------------\n\r";
	uint32_t tick;

	if (GPIO_Pin == BUTTON_EXTI13_Pin) {
		tick = HAL_GetTick();

		while (HAL_GetTick() - tick < 500);

		/*Keep pushed = reset, release = set*/
		if (!HAL_GPIO_ReadPin(BUTTON_EXTI13_GPIO_Port, BUTTON_EXTI13_Pin)) {
			snprintf(msg, 32, "TEMPERATURE DECREASED BY 1 %cC\r\n", '°');
			HAL_UART_Transmit(&huart1, (uint8_t*) msg, sizeof(msg), 1000);
			HAL_UART_Transmit(&huart1, (uint8_t*) line, sizeof(line), 1000);
			ambient_conditions.set_temperature--;
		} else {
			snprintf(msg, 32, "TEMPERATURE INCREASED BY 1 %cC\r\n", '°');
			HAL_UART_Transmit(&huart1, (uint8_t*) msg, sizeof(msg), 1000);
			HAL_UART_Transmit(&huart1, (uint8_t*) line, sizeof(line), 1000);
			ambient_conditions.set_temperature++;
		}
	}
}
/*Initialize the data structure*/
void struct_init(struct ambient_conditions *ac) {
	ac->humid_value = 0;
	ac->temp_value = 0;
	ac->humidex = 0;
	ac->set_temperature = 25;
}

/*Calculate humidex based on temperature and humidity*/
float calculate_h(struct ambient_conditions *ac) {
	float h = 0;
	float e = 0;

	e = 0.06 * ac->humid_value * (pow(10, 0.03 * ac->temp_value));
	h = ac->temp_value + (0.55555 * (e - 10));

	return h;
}

/*Read the temperature value from the sensor and split it in 2 integer (1 for integer part and 1 for fractional part).
 *Then the message is prepared and printed on serial. Float are not supported, so 2 integer are required*/
void temp_task(struct ambient_conditions *ac) {
	int int1 = 0;
	float frac = 0;
	int int2 = 0;
	char msg[30] = "";

	for (;;) {
		temp_state = BLOCKED;
		osSemaphoreAcquire(temp_sem, portMAX_DELAY);
		temp_state = RUNNING;
		ac->temp_value = BSP_TSENSOR_ReadTemp();

		int1 = ac->temp_value;
		frac = ac->temp_value - int1;
		int2 = trunc(frac * 100);
		snprintf(msg, 30, "TEMPERATURE = %d.%02d %cC\r\n", int1, int2, '°');
		HAL_UART_Transmit(&huart1, (uint8_t*) msg, sizeof(msg), 1000);
		osSemaphoreRelease(humid_sem);
	}
}

/*Read the humidity value from the sensor and split it in 2 integer (1 for integer part and 1 for fractional part).
 *Then the message is prepared and printed on serial. Float are not supported, so 2 integer are required*/
void humid_task(struct ambient_conditions *ac) {
	int int1 = 0;
	float frac = 0;
	int int2 = 0;
	char msg[30] = "";

	for (;;) {
		humid_state = BLOCKED;
		osSemaphoreAcquire(humid_sem, portMAX_DELAY);
		humid_state = RUNNING;
		ac->humid_value = BSP_HSENSOR_ReadHumidity();

		int1 = ac->humid_value;
		frac = ac->humid_value - int1;
		int2 = trunc(frac * 100);
		snprintf(msg, 30, "HUMIDITY = %d.%02d %%\r\n", int1, int2);
		HAL_UART_Transmit(&huart1, (uint8_t*) msg, sizeof(msg), 1000);
		osSemaphoreRelease(apparent_temp_sem);
	}
}

/*Compute the apparent temperature based on real temperature and humidity using the Humidex method (can only be used if the temperature is >=20)
 *Print the current set temperature and periodically, wake up the safety thread*/
void apparent_temp_task(struct ambient_conditions *ac) {
	int counter = 600;
	int int1 = 0;
	float frac = 0;
	int int2 = 0;
	char msg1[80] = "";
	char msg2[40] = "";
	char line[] = "--------------------------------------\n\r";

	for (;;) {
		apparent_temp_state = BLOCKED;
		osSemaphoreAcquire(apparent_temp_sem, portMAX_DELAY);
		apparent_temp_state = RUNNING;

		/*Calculate humidex if the temperature>=20 or else set a value of 0, meaning the apparent temperature has no meaning */
		if (ac->temp_value >= 20) {
			ac->humidex = calculate_h(ac);
		} else {
			ac->humidex = 0;
		}

		if (ac->humidex) {
			int1 = ac->humidex;
			frac = ac->humidex - int1;
			int2 = trunc(frac * 100);
			snprintf(msg1, 80, "APPARENT TEMPERATURE = %d.%02d %cC\r\n", int1,
					int2, '°');
			HAL_UART_Transmit(&huart1, (uint8_t*) msg1, sizeof(msg1), 1000);
		} else {
			snprintf(msg1, 80,
					"THE TEMPERATURE IS TOO LOW IN ORDER TO CALCULATE THE APPARENT TEMPERATURE\r\n");
			HAL_UART_Transmit(&huart1, (uint8_t*) msg1, sizeof(msg1), 1000);
		}
		snprintf(msg2, 40, "THE SET TEMPERATURE IS %d %cC\r\n",
				ac->set_temperature, '°');
		HAL_UART_Transmit(&huart1, (uint8_t*) msg2, sizeof(msg2), 1000);
		HAL_UART_Transmit(&huart1, (uint8_t*) line, sizeof(line), 1000);

		/*Wake up the safety thread every 20 minutes*/
		if (!counter) {
			counter = 600;
			osSemaphoreRelease(safety_sem);
		} else {
			counter--;
		}
	}
}

/*Check that the apparent temperature is not too high. If it is, lower the set temperature*/
void safety_task(struct ambient_conditions *ac) {
	char msg[70] = "";
	char line[] = "--------------------------------------\n\r";

	for (;;) {
		safety_state = BLOCKED;
		osSemaphoreAcquire(safety_sem, portMAX_DELAY);
		safety_state = RUNNING;

		if (ac->humidex >= 35) {
			ac->set_temperature--;
			snprintf(msg, 70,
					"THE TEMPERATURE IS TOO HIGH! DECREASING TEMPERATURE TO %d %cC\r\n",
					ac->set_temperature, '°');
			HAL_UART_Transmit(&huart1, (uint8_t*) msg, sizeof(msg), 1000);
			HAL_UART_Transmit(&huart1, (uint8_t*) line, sizeof(line), 1000);
		}
	}
}

/* USER CODE END 4 */

/* Callbacktimer function. Periodically wake up the temperature thread */
void Callbacktimer(void *argument)
{
  /* USER CODE BEGIN Callback01 */
	HAL_GPIO_TogglePin(LED2_GPIO_Port,LED2_Pin );
	osSemaphoreRelease(temp_sem);

  /* USER CODE END Callback01 */
}

void HAL_TIM_PeriodElapsedCallback(TIM_HandleTypeDef *htim)
{
  if (htim->Instance == TIM1) {
    HAL_IncTick();
  }
}

void Error_Handler(void)
{
}

/************************ (C) COPYRIGHT STMicroelectronics *****END OF FILE****/
